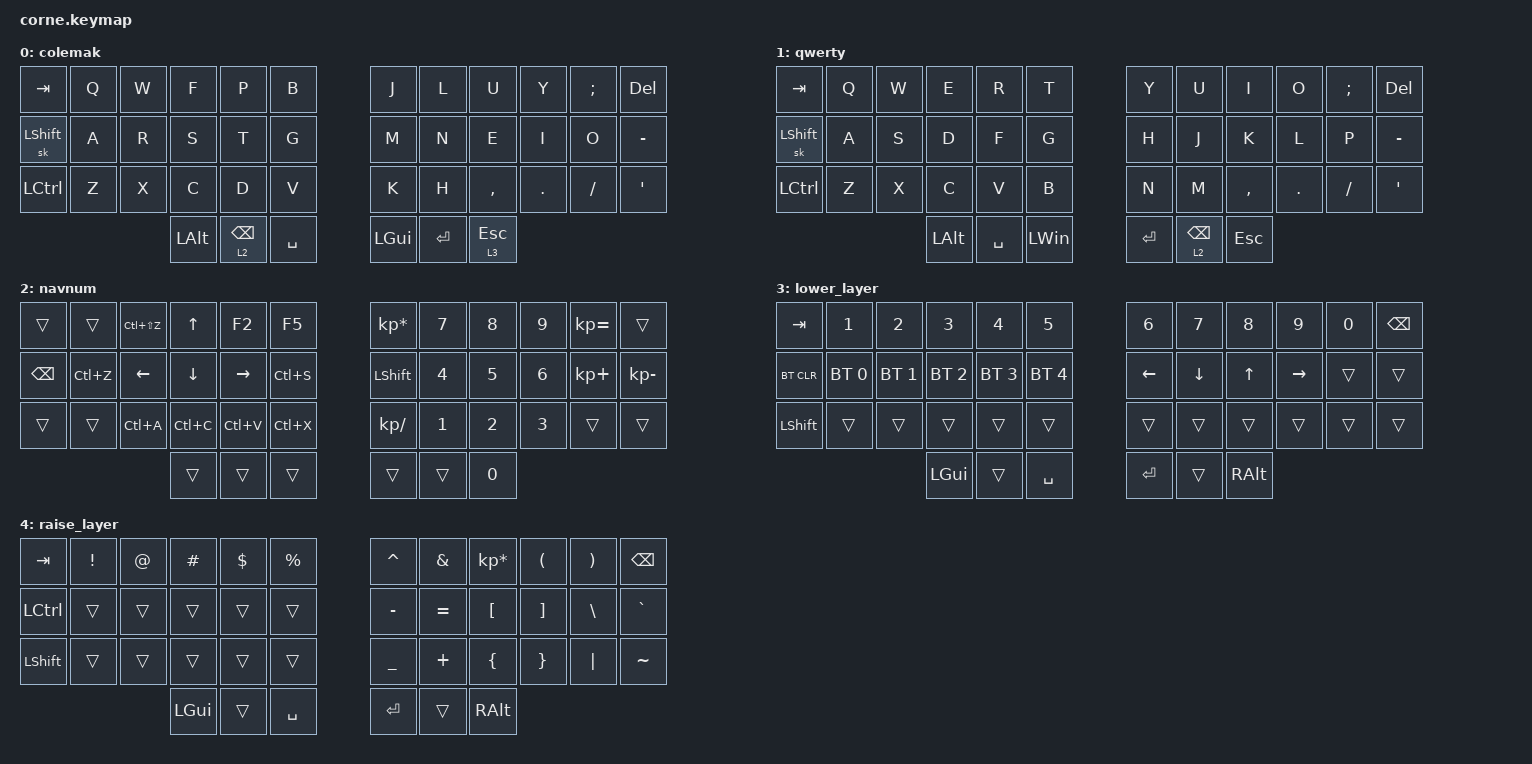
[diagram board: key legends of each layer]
/*
 * Copyright (c) 2020 The ZMK Contributors
 *
 * SPDX-License-Identifier: MIT
 */

#include <behaviors.dtsi>
#include <dt-bindings/zmk/bt.h>
#include <dt-bindings/zmk/keys.h>

/ {
    combos {
        compatible = "zmk,combos";

        qwerty {
            bindings = <&to 1>;
            key-positions = <38 17>;
            layers = <0>;
        };

        colemak {
            bindings = <&to 0>;
            key-positions = <38 16>;
            layers = <1>;
        };

        screenshot {
            bindings = <&kp LS(S)>;
            key-positions = <36 14>;
        };

        explorer {
            bindings = <&kp LG(E)>;
            key-positions = <36 3>;
        };
    };

    keymap {
        compatible = "zmk,keymap";

        colemak {
            bindings = <
&kp TAB         &kp Q  &kp W  &kp F     &kp P            &kp B        &kp J         &kp L      &kp U         &kp Y    &kp SEMI  &kp DELETE
&sk LEFT_SHIFT  &kp A  &kp R  &kp S     &kp T            &kp G        &kp M         &kp N      &kp E         &kp I    &kp O     &kp MINUS
&kp LCTRL       &kp Z  &kp X  &kp C     &kp D            &kp V        &kp K         &kp H      &kp COMMA     &kp DOT  &kp FSLH  &kp SQT
                              &kp LALT  &lt 2 BACKSPACE  &kp SPACE    &kp LEFT_GUI  &kp ENTER  &lt 3 ESCAPE
            >;
        };

        qwerty {
            // -----------------------------------------------------------------------------------------
            // |  TAB |  Q  |  W  |  E  |  R  |  T  |   |  Y  |  U   |  I  |  O  |  P  | BKSP |
            // | CTRL |  A  |  S  |  D  |  F  |  G  |   |  H  |  J   |  K  |  L  |  ;  |  '   |
            // | SHFT |  Z  |  X  |  C  |  V  |  B  |   |  N  |  M   |  ,  |  .  |  /  | ESC  |
            //                    | GUI | LWR | SPC |   | ENT | RSE  | ALT |

            bindings = <
&kp TAB           &kp Q  &kp W  &kp E         &kp R      &kp T           &kp Y    &kp U            &kp I       &kp O    &kp SEMI  &kp DELETE
&sk LEFT_SHIFT    &kp A  &kp S  &kp D         &kp F      &kp G           &kp H    &kp J            &kp K       &kp L    &kp P     &kp MINUS
&kp LEFT_CONTROL  &kp Z  &kp X  &kp C         &kp V      &kp B           &kp N    &kp M            &kp COMMA   &kp DOT  &kp FSLH  &kp SQT
                                &kp LEFT_ALT  &kp SPACE  &kp LEFT_WIN    &kp RET  &lt 2 BACKSPACE  &kp ESCAPE
            >;
        };

        navnum {
            bindings = <
&trans         &trans     &kp LC(LS(Z))  &kp UP     &kp F2     &kp F5       &kp KP_MULTIPLY  &kp NUMBER_7  &kp NUMBER_8  &kp NUMBER_9  &kp KP_EQUAL  &trans
&kp BACKSPACE  &kp LC(Z)  &kp LEFT       &kp DOWN   &kp RIGHT  &kp LC(S)    &kp LEFT_SHIFT   &kp NUMBER_4  &kp NUMBER_5  &kp NUMBER_6  &kp KP_PLUS   &kp KP_SUBTRACT
&trans         &trans     &kp LC(A)      &kp LC(C)  &kp LC(V)  &kp LC(X)    &kp KP_DIVIDE    &kp NUMBER_1  &kp NUMBER_2  &kp NUMBER_3  &trans        &trans
                                         &trans     &trans     &trans       &trans           &trans        &kp NUMBER_0
            >;
        };

        lower_layer {
            // -----------------------------------------------------------------------------------------
            // |  TAB |  1  |  2  |  3  |  4  |  5  |   |  6  |  7  |  8  |  9  |  0  | BKSP |
            // | BTCLR| BT1 | BT2 | BT3 | BT4 | BT5 |   | LFT | DWN |  UP | RGT |     |      |
            // | SHFT |     |     |     |     |     |   |     |     |     |     |     |      |
            //                    | GUI |     | SPC |   | ENT |     | ALT |

            bindings = <
&kp TAB     &kp N1        &kp N2        &kp N3        &kp N4        &kp N5          &kp N6    &kp N7    &kp N8    &kp N9     &kp N0  &kp BSPC
&bt BT_CLR  &bt BT_SEL 0  &bt BT_SEL 1  &bt BT_SEL 2  &bt BT_SEL 3  &bt BT_SEL 4    &kp LEFT  &kp DOWN  &kp UP    &kp RIGHT  &trans  &trans
&kp LSHFT   &trans        &trans        &trans        &trans        &trans          &trans    &trans    &trans    &trans     &trans  &trans
                                        &kp LGUI      &trans        &kp SPACE       &kp RET   &trans    &kp RALT
            >;
        };

        raise_layer {
            // -----------------------------------------------------------------------------------------
            // |  TAB |  !  |  @  |  #  |  $  |  %  |   |  ^  |  &  |  *  |  (  |  )  | BKSP |
            // | CTRL |     |     |     |     |     |   |  -  |  =  |  [  |  ]  |  \  |  `   |
            // | SHFT |     |     |     |     |     |   |  _  |  +  |  {  |  }  | "|" |  ~   |
            //                    | GUI |     | SPC |   | ENT |     | ALT |

            bindings = <
&kp TAB    &kp EXCL  &kp AT  &kp HASH  &kp DLLR  &kp PRCNT    &kp CARET  &kp AMPS   &kp KP_MULTIPLY  &kp LPAR  &kp RPAR  &kp BSPC
&kp LCTRL  &trans    &trans  &trans    &trans    &trans       &kp MINUS  &kp EQUAL  &kp LBKT         &kp RBKT  &kp BSLH  &kp GRAVE
&kp LSHFT  &trans    &trans  &trans    &trans    &trans       &kp UNDER  &kp PLUS   &kp LBRC         &kp RBRC  &kp PIPE  &kp TILDE
                             &kp LGUI  &trans    &kp SPACE    &kp RET    &trans     &kp RALT
            >;
        };
    };
};
